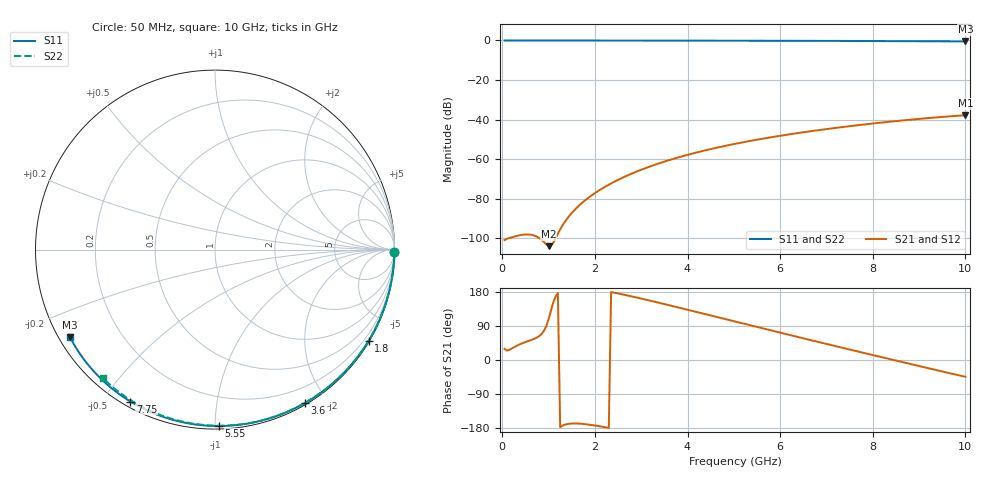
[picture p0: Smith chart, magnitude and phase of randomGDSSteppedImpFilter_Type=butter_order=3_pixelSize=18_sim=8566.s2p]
! freq	dB(S11)	phase(S11)	dB(S12)	phase(S12)
!  dB(S21)	phase(S21)	dB(S22)	phase(S22)
!S-par simulation data
#  GHz  S  DB  R 50
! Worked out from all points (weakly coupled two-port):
!   200 points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, 50 MHz to 10 GHz, reference 50 ohm
!   highest |S21| = -37.76 dB at 10 GHz (marker M1); lowest = -103.9 dB at 1 GHz (marker M2)
!   lowest |S11| = -0.5 dB at 10 GHz (marker M3), VSWR 34.79, Z = 1.55 - j13.9 ohm
!   |S11| at or under -10 dB: nowhere
!   |S22| runs from -0.4 to 0.0 dB; largest |S21 - S12| = 0
!   S11 on the Smith chart (normalised r, x): 50 MHz: open; 1.8 GHz: 0.03, -3.65; 3.6 GHz: 0.02, -1.74; 5.55 GHz: 0.02, -1.02; 7.75 GHz: 0.02, -0.59; 10 GHz: 0.03, -0.28
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0.05  -0.00 -0.9  -100.86 29.4  -100.86 29.4  -0.00 -0.8
0.5  -0.01 -8.6  -98.02 47.3  -98.02 47.3  -0.01 -7.6
1  -0.02 -17.2  -103.93 107.4  -103.93 107.4  -0.02 -15.0
1.75  -0.04 -29.8  -81.49 -168.8  -81.49 -168.8  -0.03 -26.1
1.8  -0.04 -30.6  -80.53 -169.4  -80.53 -169.4  -0.03 -26.9
1.85  -0.04 -31.4  -79.62 -170.2  -79.62 -170.2  -0.04 -27.6
2.05  -0.04 -34.8  -76.33 -173.8  -76.33 -173.8  -0.04 -30.5
2.2  -0.05 -37.2  -74.18 -177.1  -74.18 -177.1  -0.04 -32.7
2.55  -0.06 -42.9  -69.86 174.4  -69.86 174.4  -0.05 -37.7
2.95  -0.06 -49.4  -65.78 163.5  -65.78 163.5  -0.06 -43.4
3.4  -0.08 -56.5  -61.97 150.6  -61.97 150.6  -0.07 -49.7
3.6  -0.08 -59.7  -60.48 144.7  -60.48 144.7  -0.07 -52.5
4.3  -0.10 -70.4  -55.99 123.6  -55.99 123.6  -0.09 -62.1
5.05  -0.13 -81.6  -52.11 100.8  -52.11 100.8  -0.11 -72.0
5.55  -0.15 -88.8  -49.93 85.6  -49.93 85.6  -0.13 -78.5
6.1  -0.17 -96.6  -47.79 69.1  -47.79 69.1  -0.15 -85.4
6.7  -0.20 -104.9  -45.72 51.2  -45.72 51.2  -0.18 -92.8
7.2  -0.24 -111.7  -44.17 36.4  -44.17 36.4  -0.21 -98.8
7.75  -0.28 -119.1  -42.62 20.3  -42.62 20.3  -0.24 -105.4
8.35  -0.32 -127.1  -41.09 2.8  -41.09 2.8  -0.29 -112.3
9.2  -0.41 -138.3  -39.21 -21.7  -39.21 -21.7  -0.36 -122.1
10  -0.50 -148.8  -37.76 -44.4  -37.76 -44.4  -0.44 -131.1
